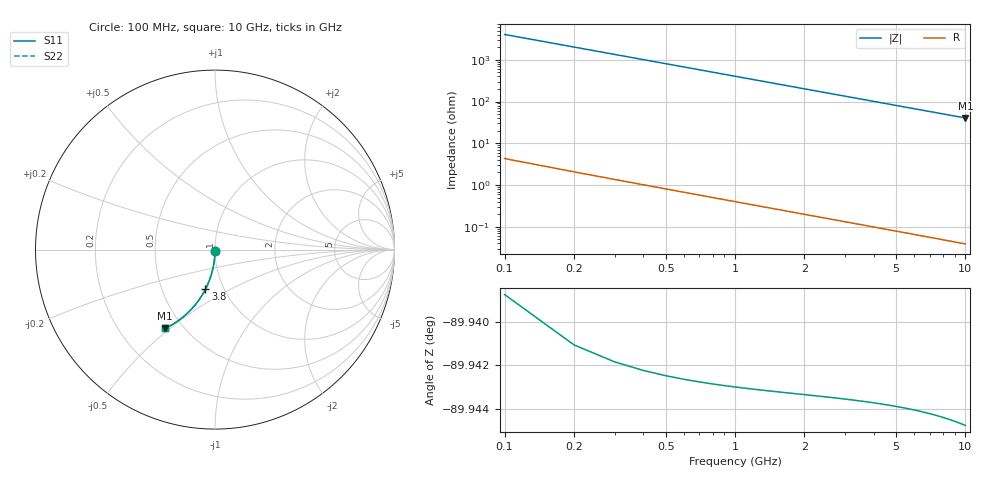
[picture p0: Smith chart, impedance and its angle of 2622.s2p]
# Hz S RI R 50.00
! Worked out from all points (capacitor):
!   100 points, 100 MHz to 10 GHz, reference 50 ohm
!   read as one part in shunt: C = 395 fF near 100 MHz
!   lowest |Z| = 40.3 ohm at 10 GHz (marker M1)
!   S11 on the Smith chart (normalised r, x): 100 MHz: 1.00, -0.01; 3.8 GHz: 0.82, -0.38; 10 GHz: 0.40, -0.48
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1e8  1.91e-06 -0.00612  0.9999 -0.0063  0.9999 -0.0063  1.91e-06 -0.00612
2e8  -0.00012 -0.0122  0.9998 -0.0126  0.9998 -0.0126  -0.00012 -0.0122
3e8  -0.000318 -0.0184  0.9996 -0.0189  0.9996 -0.0189  -0.000318 -0.0184
4e8  -0.000594 -0.0245  0.9993 -0.0252  0.9993 -0.0252  -0.000594 -0.0245
5e8  -0.000946 -0.0306  0.999 -0.0315  0.999 -0.0315  -0.000946 -0.0306
6e8  -0.00138 -0.0367  0.9985 -0.0377  0.9985 -0.0377  -0.00138 -0.0367
7e8  -0.00188 -0.0428  0.998 -0.044  0.998 -0.044  -0.00188 -0.0428
8e8  -0.00246 -0.0489  0.9974 -0.0503  0.9974 -0.0503  -0.00246 -0.0489
9e8  -0.00312 -0.0549  0.9968 -0.0565  0.9968 -0.0565  -0.00312 -0.0549
1.1e9  -0.00466 -0.067  0.9952 -0.069  0.9952 -0.069  -0.00466 -0.067
1.4e9  -0.00754 -0.0851  0.9924 -0.0875  0.9924 -0.0875  -0.00754 -0.0851
1.8e9  -0.0124 -0.1088  0.9875 -0.112  0.9875 -0.112  -0.0124 -0.1088
2.1e9  -0.0168 -0.1264  0.9831 -0.1301  0.9831 -0.1301  -0.0168 -0.1264
2.5e9  -0.0236 -0.1494  0.9762 -0.1538  0.9762 -0.1538  -0.0236 -0.1494
2.9e9  -0.0315 -0.1719  0.9683 -0.177  0.9683 -0.177  -0.0315 -0.1719
3.4e9  -0.0429 -0.1992  0.957 -0.2051  0.957 -0.2051  -0.0429 -0.1992
3.8e9  -0.053 -0.2202  0.9469 -0.2269  0.9469 -0.2269  -0.053 -0.2202
4.4e9  -0.0697 -0.2505  0.9301 -0.2582  0.9301 -0.2582  -0.0697 -0.2505
5.1e9  -0.0915 -0.2835  0.9083 -0.2924  0.9083 -0.2924  -0.0915 -0.2835
6.7e9  -0.1482 -0.349  0.8517 -0.3608  0.8517 -0.3608  -0.1482 -0.349
8.4e9  -0.2149 -0.4029  0.7849 -0.4177  0.7849 -0.4177  -0.2149 -0.4029
1e10  -0.2797 -0.4396  0.72 -0.4573  0.72 -0.4573  -0.2797 -0.4396
